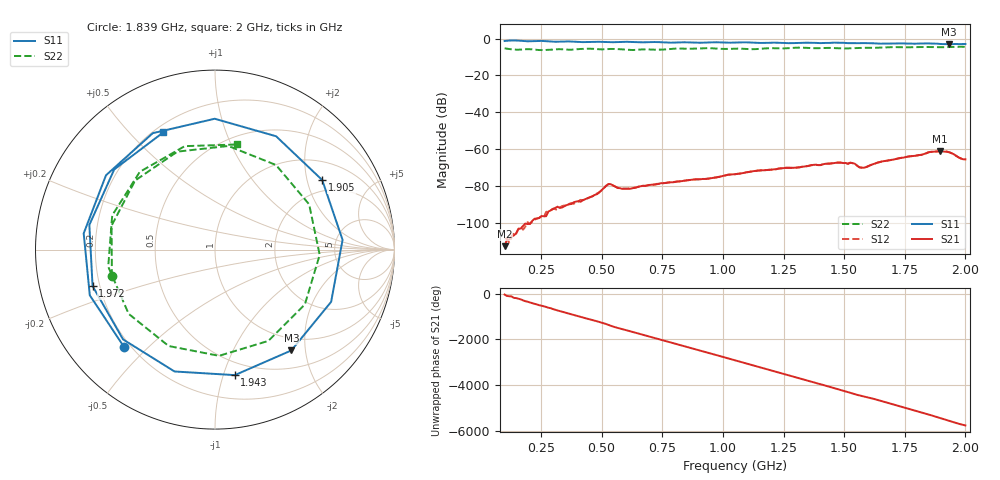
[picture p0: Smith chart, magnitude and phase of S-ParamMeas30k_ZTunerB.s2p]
!Keysight Technologies,N5242B,MY48420967,A.15.65.19
!Date: Monday, December 19, 2022 10:05:44
!Correction: S11(C  2-Port  )
!S21(C  2-Port  )
!S12(C  2-Port  )
!S22(C  2-Port  )
!S2P File: Measurements: S11, S21, S12, S22:
# Hz S  dB  R 50
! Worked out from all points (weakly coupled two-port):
!   201 points, 100 MHz to 2 GHz, reference 50 ohm
!   highest |S21| = -61.25 dB at 1.895 GHz (marker M1); lowest = -112.8 dB at 100 MHz (marker M2)
!   lowest |S11| = -3.0 dB at 1.933 GHz (marker M3), VSWR 5.77, Z = 39 - j87 ohm
!   |S11| at or under -10 dB: nowhere
!   |S22| runs from -6.2 to -4.4 dB; largest |S21 - S12| = 5.3e-06
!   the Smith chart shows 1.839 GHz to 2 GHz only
!   S11 on the Smith chart (normalised r, x): 1.839 GHz: 0.17, -0.43; 1.905 GHz: 1.58, +2.48; 1.943 GHz: 0.39, -1.09; 1.972 GHz: 0.17, -0.14; 2 GHz: 0.24, +0.63
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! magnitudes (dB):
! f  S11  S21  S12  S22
! 100 MHz  -1.3  -112.8  -108.7  -5.3
! 252 MHz  -1.2  -96.5  -96.6  -6.2
! 423 MHz  -1.9  -87.8  -87.8  -5.5
! 518 MHz  -1.9  -80.1  -80.0  -5.7
! 537 MHz  -1.9  -79.1  -79.0  -5.6
! 556 MHz  -1.9  -80.4  -80.3  -5.6
! 679.5 MHz  -2.0  -80.1  -80.0  -5.8
! 736.5 MHz  -1.9  -78.9  -78.9  -6.0
! 1.05 GHz  -2.1  -73.7  -73.7  -5.5
! 1.373 GHz  -2.3  -68.6  -68.7  -5.2
! 1.525 GHz  -2.5  -67.4  -67.5  -5.3
! 1.544 GHz  -2.5  -68.0  -68.0  -5.1
! 1.563 GHz  -2.5  -70.0  -70.0  -5.0
! 1.582 GHz  -2.4  -70.2  -70.1  -5.0
! 1.687 GHz  -2.7  -66.1  -66.2  -4.7
! 1.839 GHz  -2.6  -62.3  -62.3  -4.5
! 1.895 GHz  -2.9  -61.3  -61.2  -4.7
! 1.905 GHz  -2.9  -61.3  -61.3  -4.7
! 1.933 GHz  -3.0  -61.8  -61.8  -4.5
! 1.943 GHz  -3.0  -62.3  -62.3  -4.5
! 1.972 GHz  -3.0  -64.5  -64.6  -4.4
! 2 GHz  -2.9  -65.6  -65.6  -4.5
